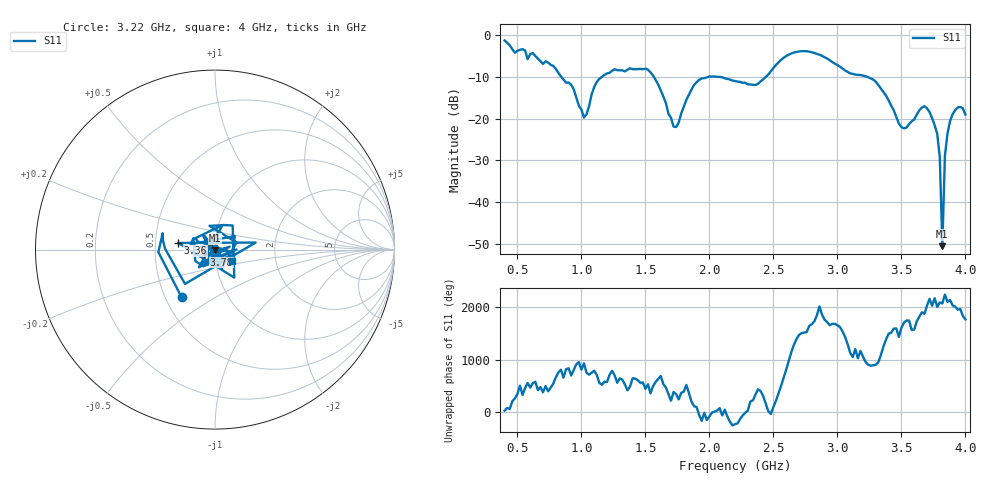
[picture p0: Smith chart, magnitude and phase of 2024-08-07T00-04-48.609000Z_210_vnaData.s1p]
!Created with skrf (http://scikit-rf.org).
# Hz S RI R 50.0
!freq ReS11 ImS11
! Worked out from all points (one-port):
!   181 points, 400 MHz to 4 GHz, reference 50 ohm
!   lowest |S11| = -50.6 dB at 3.82 GHz (marker M1), VSWR 1.01, Z = 50 - j0.294 ohm
!   |S11| at or under -10 dB: 1.567 GHz to 1.986 GHz (418.8 MHz wide, 23.6 % of centre); 2.09 GHz to 2.438 GHz (348 MHz wide, 15.4 % of centre); 3.239 GHz to end of sweep (the widest 3 of 4)
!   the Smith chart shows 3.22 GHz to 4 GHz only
!   S11 on the Smith chart (normalised r, x): 3.22 GHz: 0.61, -0.36; 3.36 GHz: 0.66, +0.05; 3.78 GHz: 0.89, -0.05; 4 GHz: 1.20, -0.15
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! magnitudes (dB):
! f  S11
! 400 MHz  -1.2
! 860 MHz  -10.6
! 940 MHz  -12.9
! 1.02 GHz  -19.7
! 1.12 GHz  -11.2
! 1.3 GHz  -8.4
! 1.52 GHz  -8.2
! 1.6 GHz  -11.8
! 1.72 GHz  -21.9
! 1.76 GHz  -20.9
! 1.92 GHz  -10.7
! 2.2 GHz  -11.0
! 2.38 GHz  -11.6
! 2.66 GHz  -4.1
! 2.86 GHz  -4.6
! 3.1 GHz  -9.1
! 3.22 GHz  -9.8
! 3.36 GHz  -13.6
! 3.5 GHz  -22.0
! 3.56 GHz  -21.3
! 3.68 GHz  -17.0
! 3.78 GHz  -23.6
! 3.8 GHz  -29.3
! 3.82 GHz  -50.6
! 3.84 GHz  -28.9
! 3.86 GHz  -23.6
! 3.92 GHz  -17.9
! 4 GHz  -19.0
